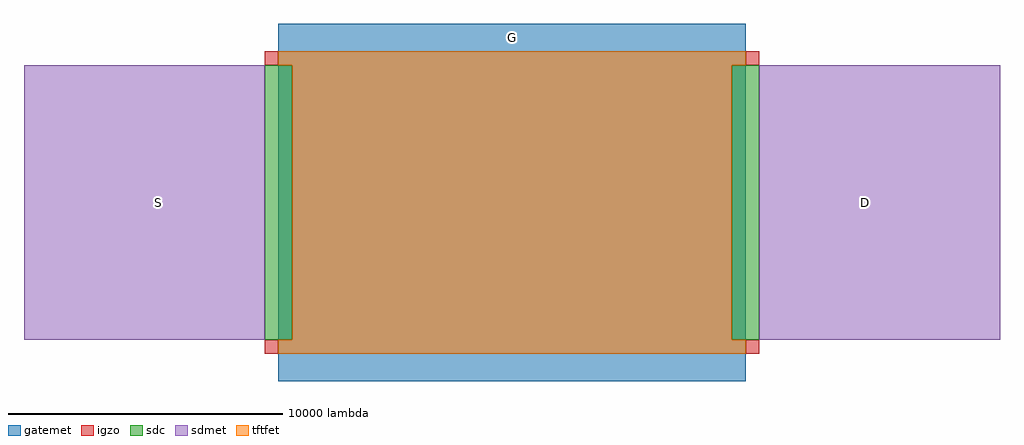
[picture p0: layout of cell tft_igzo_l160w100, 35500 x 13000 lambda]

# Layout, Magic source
magic
tech igzo_mmm_lab
<< igzo >>
rect -9000 5000 -8500 5500
rect 8500 5000 9000 5500
rect -9000 -5500 -8500 -5000
rect 8500 -5500 9000 -5000
<< tftfet >>
rect -8500 5000 8500 5500
rect -8000 -5000 8000 5000
rect -8500 -5500 8500 -5000
<< sdc >>
rect -9000 -5000 -8000 5000
rect 8000 -5000 9000 5000
<< sdmet >>
rect -17750 -5000 -9000 5000
rect 9000 -5000 17750 5000
<< gatemet >>
rect -8500 -6500 8500 6500
<< labels >>
rlabel sdmet s -13363 -488 -12387 488 4 S
port 3 nsew
rlabel sdmet s 12387 -488 13363 488 4 D
port 5 nsew
rlabel gatemet s -488 5512 488 6488 4 G
port 7 nsew
<< end >>
